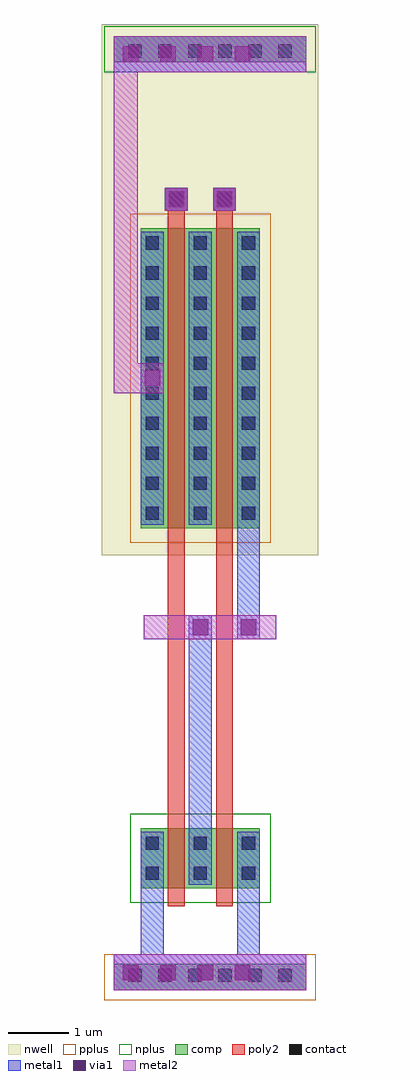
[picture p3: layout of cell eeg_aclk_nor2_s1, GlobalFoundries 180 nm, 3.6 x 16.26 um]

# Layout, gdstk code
import gdstk
lib = gdstk.Library(unit=1e-6, precision=1e-09)
def R(c, l, rs):  # rectangles x0, y0, x1, y1
    for r in rs: c.add(gdstk.rectangle(r[:2], r[2:], *l))
def A(c, l, x, y, w, h, nx, ny, dx, dy):  # array of equal rectangles
    R(c, l, [(x+i*dx, y+j*dy, x+i*dx+w, y+j*dy+h) for i in range(nx) for j in range(ny)])
nwell = (21, 0)
comp = (22, 0)
poly2 = (30, 0)
pplus = (31, 0)
nplus = (32, 0)
contact = (33, 0)
metal1 = (34, 0)
via1 = (35, 0)
metal2 = (36, 0)

eeg_aclk_nor2_s1 = lib.new_cell('eeg_aclk_nor2_s1')
R(eeg_aclk_nor2_s1, nwell, [(-0.2,7.25,3.4,16.1)])
R(eeg_aclk_nor2_s1, comp, [(0,0,3.2,0.44), (0.45,1.7,2.43,2.7), (0.45,7.7,2.43,12.7), (0,15.46,3.2,15.9)])
R(eeg_aclk_nor2_s1, poly2, [(0.9,1.4,1.18,7.7), (1.7,1.4,1.98,7.7), (0.9,7.4,1.18,13.36), (1.7,7.4,1.98,13.36), (0.86,13,1.22,13.36), (1.66,13,2.02,13.36)])
R(eeg_aclk_nor2_s1, pplus, [(-0.16,-0.16,3.36,0.6), (0.27,7.46,2.61,12.94)])
R(eeg_aclk_nor2_s1, nplus, [(0.27,1.46,2.61,2.94), (-0.16,15.3,3.36,16.06)])
A(eeg_aclk_nor2_s1, contact, 0.24, 0.14, 0.22, 0.22, 6, 2, 0.5, 15.4)
A(eeg_aclk_nor2_s1, contact, 0.53, 1.84, 0.22, 0.22, 3, 2, 0.8, 0.5)
A(eeg_aclk_nor2_s1, contact, 0.53, 7.84, 0.22, 0.22, 3, 10, 0.8, 0.5)
R(eeg_aclk_nor2_s1, contact, [(0.93,13.07,1.15,13.29), (1.73,13.07,1.95,13.29)])
R(eeg_aclk_nor2_s1, metal1, [(0,0,3.2,0.6), (0,0,3.2,0.44), (0.45,0.3,0.83,2.64), (2.05,0.3,2.43,2.64), (1.25,1.76,1.63,6.25), (2.05,5.85,2.43,12.64), (0.45,7.76,0.83,12.64), (1.25,7.76,1.63,12.64), (0.85,12.99,1.23,13.37), (1.65,12.99,2.03,13.37), (0,15.3,3.2,15.9), (0,15.46,3.2,15.9)])
A(eeg_aclk_nor2_s1, via1, 0.15, 0.17, 0.26, 0.26, 4, 2, 0.62, 15.3)
R(eeg_aclk_nor2_s1, via1, [(1.31,5.92,1.57,6.18), (2.11,5.92,2.37,6.18), (0.51,10.07,0.77,10.33), (0.91,13.05,1.17,13.31), (1.71,13.05,1.97,13.31)])
R(eeg_aclk_nor2_s1, metal2, [(0,0,3.2,0.6), (0.5,5.85,2.7,6.25), (0,9.95,0.83,10.45), (0,9.95,0.4,15.3), (0.85,12.99,1.23,13.37), (1.65,12.99,2.03,13.37), (0,15.3,3.2,15.9)])

lib.write_gds('eeg_aclk_nor2_s1.gds')
